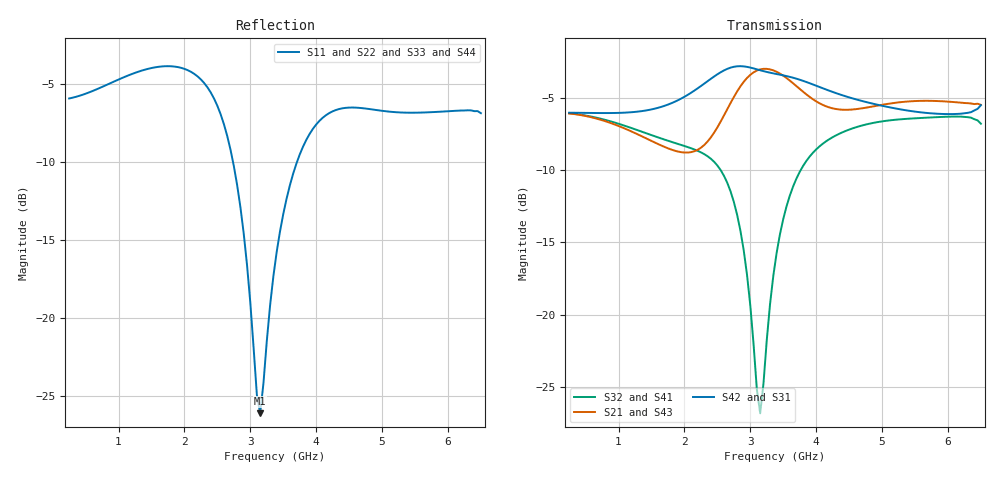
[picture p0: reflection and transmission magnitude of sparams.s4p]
! NobuRF pozar-7.5-branch-line: ports 1 "p1", 2 "p2", 3 "p3", 4 "p4"; 49500 + 49500 + 49500 + 49500 steps
# GHz S RI R 50
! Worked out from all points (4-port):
!   126 points, 250 MHz to 6.5 GHz, reference 50 ohm
!   strongest paths, dB at 250 MHz, 1.8 GHz, 3.4 GHz, 4.95 GHz, 6.5 GHz:
!     S42: -6.0, -5.4, -3.3, -5.5, -5.5
!     S31: -6.0, -5.4, -3.3, -5.5, -5.5
!     S21: -6.1, -8.6, -3.2, -5.5, -5.5
!     S43: -6.1, -8.6, -3.2, -5.5, -5.5
!     S32: -6.1, -8.0, -15.7, -6.7, -6.8
!     S41: -6.1, -8.0, -15.7, -6.7, -6.8
!   lowest |S11| = -26.1 dB at 3.15 GHz (marker M1), VSWR 1.10, Z = 54 + j3.27 ohm
!   |S11| at or under -10 dB: 2.738 GHz to 3.708 GHz (969.8 MHz wide, 30.1 % of centre)
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0.25  -0.4957 0.1035  0.4633 -0.1791  0.4548 -0.2071  0.461 -0.1862
      0.4633 -0.1791  -0.4957 0.1035  0.461 -0.1862  0.4548 -0.2071
      0.4548 -0.2071  0.461 -0.1862  -0.4957 0.1035  0.4633 -0.1791
      0.461 -0.1862  0.4548 -0.2071  0.4633 -0.1791  -0.4957 0.1035
1.05  -0.34 0.4806  0.0285 -0.4439  -0.1003 -0.4893  -0.0108 -0.4537
      0.0285 -0.4439  -0.34 0.4806  -0.0108 -0.4537  -0.1003 -0.4893
      -0.1003 -0.4893  -0.0108 -0.4537  -0.34 0.4806  0.0285 -0.4439
      -0.0108 -0.4537  -0.1003 -0.4893  0.0285 -0.4439  -0.34 0.4806
2  0.3208 0.5427  -0.3025 -0.2021  -0.5583 0.1009  -0.38 -0.0497
   -0.3025 -0.2021  0.3208 0.5427  -0.38 -0.0497  -0.5583 0.1009
   -0.5583 0.1009  -0.38 -0.0497  0.3208 0.5427  -0.3025 -0.2021
   -0.38 -0.0497  -0.5583 0.1009  -0.3025 -0.2021  0.3208 0.5427
3.15  0.039 0.0302  -0.4266 0.5622  0.5595 0.4225  0.0283 -0.0356
      -0.4266 0.5622  0.039 0.0302  0.0283 -0.0356  0.5595 0.4225
      0.5595 0.4225  0.0283 -0.0356  0.039 0.0302  -0.4266 0.5622
      0.0283 -0.0356  0.5595 0.4225  -0.4266 0.5622  0.039 0.0302
4.25  0.4021 0.2243  0.4654 0.226  0.0641 -0.5863  0.0271 0.4102
      0.4654 0.226  0.4021 0.2243  0.0271 0.4102  0.0641 -0.5863
      0.0641 -0.5863  0.0271 0.4102  0.4021 0.2243  0.4654 0.226
      0.0271 0.4102  0.0641 -0.5863  0.4654 0.226  0.4021 0.2243
5.25  0.3727 -0.2645  0.355 -0.4103  -0.5134 0.0366  0.4661 -0.0835
      0.355 -0.4103  0.3727 -0.2645  0.4661 -0.0835  -0.5134 0.0366
      -0.5134 0.0366  0.4661 -0.0835  0.3727 -0.2645  0.355 -0.4103
      0.4661 -0.0835  -0.5134 0.0366  0.355 -0.4103  0.3727 -0.2645
6.5  -0.3797 -0.2493  -0.5068 -0.1625  0.2595 0.4627  -0.2988 -0.3468
     -0.5068 -0.1625  -0.3797 -0.2493  -0.2988 -0.3468  0.2595 0.4627
     0.2595 0.4627  -0.2988 -0.3468  -0.3797 -0.2493  -0.5068 -0.1625
     -0.2988 -0.3468  0.2595 0.4627  -0.5068 -0.1625  -0.3797 -0.2493
